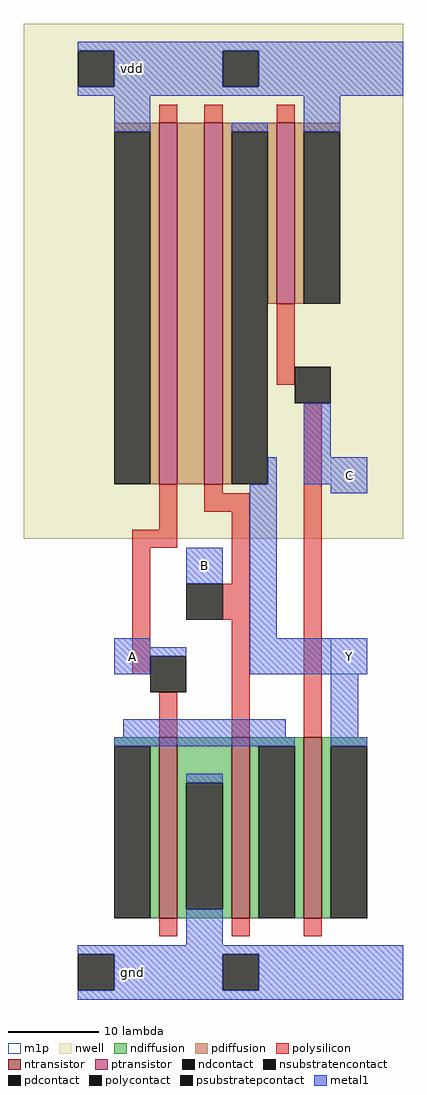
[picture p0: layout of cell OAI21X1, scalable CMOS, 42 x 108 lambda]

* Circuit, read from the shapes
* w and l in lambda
.subckt OAI21X1 A B C Y gnd vdd
M1 gnd A n1 gnd nfet w=20 l=2
M2 n1 B gnd gnd nfet w=20 l=2
M3 Y C n1 gnd nfet w=20 l=2
M4 n2 A vdd vdd pfet w=40 l=2
M5 Y B n2 vdd pfet w=40 l=2
M6 vdd C Y vdd pfet w=20 l=2
.ends

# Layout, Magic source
magic
tech scmos
<< nwell >>
rect -8 48 34 105
<< ntransistor >>
rect 7 6 9 26
rect 15 6 17 26
rect 23 6 25 26
<< ptransistor >>
rect 7 54 9 94
rect 12 54 14 94
rect 20 74 22 94
<< ndiffusion >>
rect 2 25 7 26
rect 6 6 7 25
rect 9 21 15 26
rect 9 7 10 21
rect 14 7 15 21
rect 9 6 15 7
rect 17 25 23 26
rect 17 6 18 25
rect 22 6 23 25
rect 25 25 30 26
rect 25 6 26 25
<< pdiffusion >>
rect 2 93 7 94
rect 6 54 7 93
rect 9 54 12 94
rect 14 93 20 94
rect 14 54 15 93
rect 19 74 20 93
rect 22 93 27 94
rect 22 74 23 93
<< ndcontact >>
rect 2 6 6 25
rect 10 7 14 21
rect 18 6 22 25
rect 26 6 30 25
<< pdcontact >>
rect 2 54 6 93
rect 15 54 19 93
rect 23 74 27 93
<< psubstratepcontact >>
rect -2 -2 2 2
rect 14 -2 18 2
<< nsubstratencontact >>
rect -2 98 2 102
rect 14 98 18 102
<< polysilicon >>
rect 7 94 9 96
rect 12 94 14 96
rect 20 94 22 96
rect 20 65 22 74
rect 7 49 9 54
rect 12 53 14 54
rect 12 51 17 53
rect 4 47 9 49
rect 4 33 6 47
rect 15 43 17 51
rect 14 39 17 43
rect 7 26 9 31
rect 15 26 17 39
rect 23 26 25 63
rect 7 4 9 6
rect 15 4 17 6
rect 23 4 25 6
<< polycontact >>
rect 22 63 26 67
rect 10 39 14 43
rect 6 31 10 35
<< metal1 >>
rect -2 102 34 103
rect 2 98 14 102
rect 18 98 34 102
rect -2 97 34 98
rect 2 93 6 97
rect 15 93 19 94
rect 23 93 27 97
rect 23 57 26 63
rect 19 54 20 57
rect 23 54 30 57
rect 10 43 14 47
rect 17 37 20 54
rect 26 53 30 54
rect 2 36 6 37
rect 2 35 10 36
rect 2 33 6 35
rect 17 33 30 37
rect 3 26 21 28
rect 26 26 29 33
rect 2 25 22 26
rect 10 21 14 22
rect 10 3 14 7
rect 26 25 30 26
rect -2 2 34 3
rect 2 -2 14 2
rect 18 -2 34 2
rect -2 -3 34 -2
<< m1p >>
rect 26 53 30 57
rect 10 43 14 47
rect 2 33 6 37
rect 26 33 30 37
<< labels >>
rlabel metal1 4 0 4 0 4 gnd
rlabel metal1 4 100 4 100 4 vdd
rlabel metal1 4 35 4 35 4 A
rlabel metal1 12 45 12 45 4 B
rlabel metal1 28 35 28 35 4 Y
rlabel metal1 28 55 28 55 4 C
<< end >>
